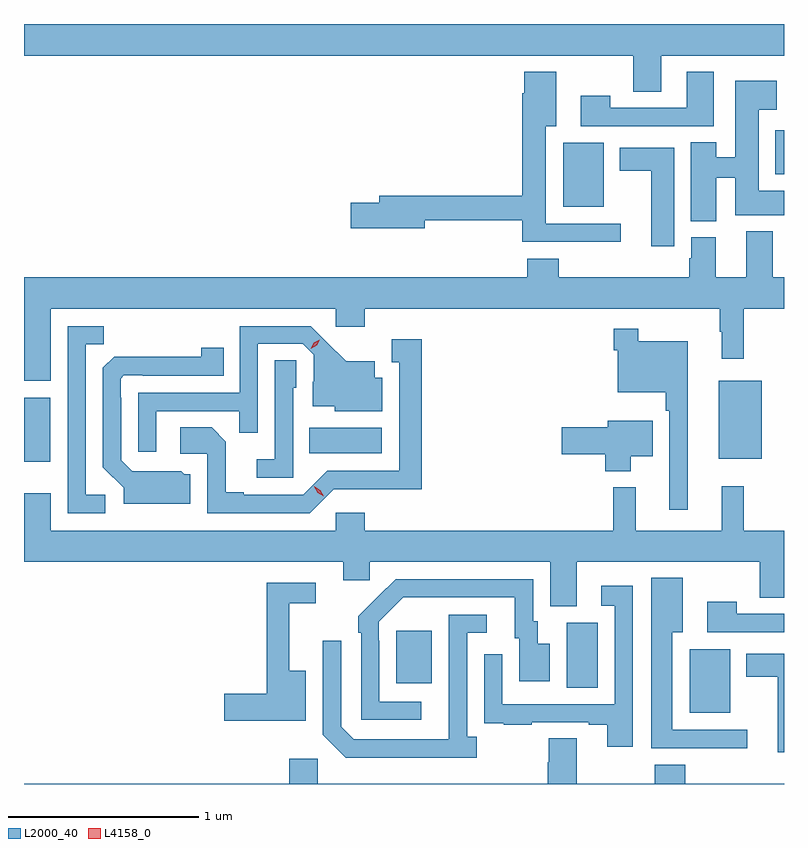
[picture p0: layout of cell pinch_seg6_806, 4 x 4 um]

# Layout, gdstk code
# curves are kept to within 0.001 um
import gdstk
lib = gdstk.Library(unit=1e-6, precision=1e-09)
def R(c, l, rs):  # rectangles x0, y0, x1, y1
    for r in rs: c.add(gdstk.rectangle(r[:2], r[2:], *l))
def P(c, l, *ps):  # polygons
    for p in ps: c.add(gdstk.Polygon(p, *l))
L2000_40 = (2000, 40)
L4158_0 = (4158, 0)

pinch_seg6_806 = lib.new_cell('pinch_seg6_806')
R(pinch_seg6_806, L2000_40, [(150.026,978.509,150.238,978.844), (149.378,978.64,149.542,978.984), (148.481,978.665,148.669,978.94), (146.522,979.83,146.659,980.167), (150.179,979.847,150.406,980.257), (148.024,979.874,148.405,980.008), (149.36,981.173,149.572,981.508), (150.476,981.344,150.522,981.574)])
P(pinch_seg6_806, L2000_40, [(149.875,981.968),(150.522,981.968),(150.522,982.132),(150.097,982.132),(150.097,982.134),(149.957,982.134),(149.957,982.132),(149.007,982.132),(149.007,982.134),(148.868,982.134),(148.868,982.132),(148.099,982.132),(148.099,982.134),(147.959,982.134),(147.959,982.132),(147.009,982.132),(147.009,982.134),(146.87,982.134),(146.87,982.132),(146.522,982.132),(146.522,981.968),(149.728,981.968),(149.728,981.778),(149.875,981.778)],
  [(150.151,981.883),(150.011,981.883),(150.011,981.693),(149.607,981.693),(149.607,981.757),(149.451,981.757),(149.451,981.597),(150.151,981.597)],
  [(149.662,981.084),(149.269,981.084),(149.269,981.596),(149.323,981.596),(149.323,981.883),(149.156,981.883),(149.156,981.77),(149.144,981.77),(149.144,981.23),(148.391,981.23),(148.391,981.194),(148.242,981.194),(148.242,981.059),(148.63,981.059),(148.63,981.102),(149.144,981.102),(149.144,980.987),(149.662,980.987)],
  [(150.166,981.324),(150.266,981.324),(150.266,981.128),(150.522,981.128),(150.522,981.256),(150.388,981.256),(150.388,981.683),(150.484,981.683),(150.484,981.835),(150.266,981.835),(150.266,981.433),(150.166,981.433),(150.166,981.512),(150.032,981.512),(150.032,981.097),(150.166,981.097)],
  [(149.944,981.484),(149.657,981.484),(149.657,981.362),(149.822,981.362),(149.822,980.964),(149.944,980.964)],
  [(146.662,980.636),(148.164,980.636),(148.164,980.541),(148.316,980.541),(148.316,980.636),(150.183,980.636),(150.183,980.513),(150.194,980.513),(150.194,980.373),(150.311,980.373),(150.311,980.636),(150.522,980.636),(150.522,980.8),(150.463,980.8),(150.463,981.043),(150.323,981.043),(150.323,980.8),(150.163,980.8),(150.163,981.012),(150.035,981.012),(150.035,980.901),(150.023,980.901),(150.023,980.8),(149.336,980.8),(149.336,980.899),(149.171,980.899),(149.171,980.8),(146.522,980.8),(146.522,980.256),(146.662,980.256)],
  [(146.95,979.656),(146.847,979.656),(146.847,980.449),(146.943,980.449),(146.943,980.544),(146.751,980.544),(146.751,979.56),(146.95,979.56)],
  [(147.219,980.097),(147.655,980.097),(147.655,979.984),(147.753,979.984),(147.753,980.451),(147.99,980.451),(148.047,980.394),(148.047,980.252),(148.043,980.252),(148.043,980.123),(148.158,980.123),(148.158,980.096),(148.408,980.096),(148.408,980.272),(148.369,980.272),(148.369,980.359),(148.217,980.359),(148.03,980.544),(147.657,980.544),(147.657,980.193),(147.123,980.193),(147.123,979.884),(147.219,979.884)],
  [(150.016,980.464),(149.755,980.464),(149.755,980.53),(149.626,980.53),(149.626,980.417),(149.646,980.417),(149.646,980.195),(149.899,980.195),(149.899,980.099),(149.919,980.099),(149.919,979.578),(150.016,979.578)],
  [(148.152,979.686),(148.615,979.685),(148.615,980.476),(148.457,980.476),(148.457,980.355),(148.496,980.355),(148.496,979.782),(148.119,979.782),(147.993,979.656),(147.679,979.656),(147.679,979.669),(147.585,979.669),(147.585,979.936),(147.509,980.012),(147.345,980.012),(147.345,979.872),(147.486,979.872),(147.486,979.56),(148.026,979.56)],
  [(147.397,979.764),(147.366,979.764),(147.35,979.78),(147.093,979.779),(147.033,979.839),(147.033,980.168),(147.03,980.168),(147.03,980.268),(147.048,980.286),(147.148,980.286),(147.148,980.283),(147.572,980.283),(147.572,980.431),(147.454,980.431),(147.454,980.384),(146.996,980.383),(146.937,980.324),(146.937,979.802),(147.047,979.692),(147.047,979.61),(147.397,979.61)],
  [(147.939,980.22),(147.954,980.22),(147.954,980.363),(147.843,980.363),(147.843,979.843),(147.747,979.843),(147.747,979.746),(147.939,979.746)],
  [(149.716,979.859),(149.83,979.859),(149.83,980.047),(149.594,980.047),(149.594,980.012),(149.352,980.012),(149.352,979.87),(149.582,979.87),(149.582,979.781),(149.716,979.781)],
  [(149.431,979.304),(150.394,979.304),(150.394,979.114),(150.522,979.114),(150.522,979.468),(150.311,979.468),(150.311,979.702),(150.194,979.702),(150.194,979.468),(149.741,979.468),(149.741,979.696),(149.623,979.696),(149.623,979.468),(148.316,979.468),(148.316,979.561),(148.164,979.561),(148.164,979.468),(146.662,979.468),(146.662,979.663),(146.522,979.663),(146.522,979.304),(148.202,979.304),(148.202,979.206),(148.341,979.206),(148.341,979.304),(149.291,979.304),(149.291,979.069),(149.431,979.069)],
  [(150.328,978.42),(149.935,978.42),(149.935,978.932),(149.989,978.932),(149.989,979.219),(149.822,979.219),(149.822,978.323),(150.328,978.323)],
  [(148.612,978.567),(148.392,978.567),(148.392,978.887),(148.389,978.887),(148.389,978.987),(148.518,979.116),(149.105,979.116),(149.105,978.9),(149.129,978.9),(149.129,978.675),(149.29,978.675),(149.29,978.871),(149.227,978.871),(149.227,978.99),(149.202,978.99),(149.202,979.212),(148.478,979.212),(148.281,979.017),(148.281,978.929),(148.296,978.929),(148.296,978.471),(148.612,978.471)],
  [(148.006,978.73),(147.917,978.73),(147.917,979.086),(148.057,979.086),(148.057,979.194),(147.799,979.194),(147.799,978.608),(147.576,978.608),(147.576,978.466),(148.006,978.466)],
  [(149.727,979.177),(149.559,979.177),(149.559,979.071),(149.631,979.071),(149.631,978.555),(149.04,978.555),(149.04,978.817),(148.944,978.817),(148.944,978.562),(148.945,978.562),(148.945,978.453),(149.047,978.453),(149.047,978.447),(149.195,978.447),(149.195,978.459),(149.495,978.459),(149.495,978.447),(149.591,978.447),(149.591,978.33),(149.727,978.33)],
  [(150.522,979.029),(150.273,979.029),(150.273,979.093),(150.117,979.093),(150.117,978.933),(150.522,978.933)],
  [(148.906,978.382),(148.854,978.382),(148.854,978.93),(148.957,978.93),(148.957,979.026),(148.758,979.026),(148.757,978.369),(148.257,978.369),(148.191,978.435),(148.191,978.889),(148.095,978.889),(148.095,978.393),(148.216,978.272),(148.906,978.272)],
  [(150.522,978.82),(150.323,978.82),(150.323,978.698),(150.488,978.698),(150.488,978.3),(150.522,978.3)],
  [(150.522,978.136),(150.002,978.136),(150.002,978.235),(149.842,978.235),(149.842,978.136),(149.431,978.136),(149.431,978.374),(149.284,978.374),(149.284,978.249),(149.279,978.249),(149.279,978.136),(148.068,978.136),(148.068,978.268),(147.917,978.268),(147.917,978.136),(146.522,978.136),(146.522,978.134),(150.522,978.134)])
P(pinch_seg6_806, L4158_0, [(148.099,979.648),(148.068,979.667),(148.05,979.699),(148.05,979.7),(148.05,979.7),(148.082,979.681),(148.1,979.648),(148.1,979.648)],
  [(148.031,980.426),(148.031,980.426),(148.048,980.456),(148.078,980.472),(148.079,980.472),(148.079,980.472),(148.062,980.442),(148.031,980.426)])

lib.write_gds('pinch_seg6_806.gds')
